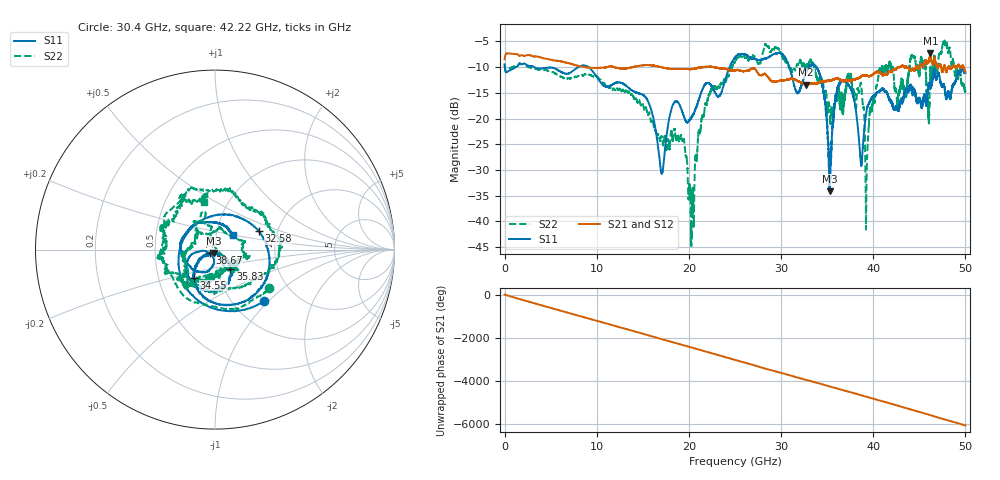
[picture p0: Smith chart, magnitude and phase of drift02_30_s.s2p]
!Created with skrf (http://scikit-rf.org).
# Hz S RI R 50.0
!freq ReS11 ImS11 ReS21 ImS21 ReS12 ImS12 ReS22 ImS22
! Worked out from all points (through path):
!   10001 points, 300 kHz to 50 GHz, reference 50 ohm
!   highest |S21| = -7.32 dB at 46.2 GHz (marker M1); lowest = -13.4 dB at 32.73 GHz (marker M2)
!   group delay of S21, straight-line fit = 335 ps
!   lowest |S11| = -34.1 dB at 35.27 GHz (marker M3), VSWR 1.04, Z = 49.4 - j1.86 ohm
!   |S11| at or under -10 dB: 3.231 GHz to 8.005 GHz (4.774 GHz wide, 85 % of centre); 9.103 GHz to 24.42 GHz (15.31 GHz wide, 91.4 % of centre); 33.83 GHz to end of sweep (the widest 3 of 7)
!   |S22| runs from -44.8 to -4.8 dB; largest |S21 - S12| = 0.013
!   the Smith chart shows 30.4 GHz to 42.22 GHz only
!   S11 on the Smith chart (normalised r, x): 30.4 GHz: 1.38, -0.94; 32.58 GHz: 1.59, +0.36; 34.55 GHz: 0.76, -0.24; 35.83 GHz: 1.16, -0.25; 38.67 GHz: 0.94, -0.04; 42.22 GHz: 1.20, +0.19
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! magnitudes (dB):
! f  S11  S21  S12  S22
! 300 kHz  -9.5  -8.5  -8.4  -9.4
! 8.335 GHz  -9.7  -9.9  -9.9  -11.6
! 16.67 GHz  -25.7  -9.9  -9.9  -23.1
! 19.31 GHz  -18.8  -10.4  -10.3  -24.4
! 20.35 GHz  -19.5  -10.4  -10.4  -34.6
! 21.94 GHz  -13.1  -10.0  -10.0  -17.1
! 25 GHz  -8.2  -10.7  -10.6  -9.0
! 30.4 GHz  -8.0  -12.5  -12.6  -8.6
! 32.58 GHz  -11.5  -13.2  -13.3  -10.2
! 32.73 GHz  -10.9  -13.4  -13.6  -10.1
! 33.34 GHz  -9.6  -13.2  -13.2  -9.0
! 34.55 GHz  -14.2  -12.8  -12.7  -12.8
! 35.27 GHz  -34.1  -12.6  -12.7  -18.1
! 35.83 GHz  -17.3  -12.3  -12.3  -16.8
! 37.46 GHz  -13.8  -12.5  -12.6  -12.1
! 38.67 GHz  -28.8  -11.8  -11.8  -13.2
! 39.31 GHz  -18.2  -11.6  -11.6  -29.3
! 41.67 GHz  -16.0  -10.9  -11.1  -9.8
! 42.22 GHz  -17.9  -10.4  -10.4  -11.2
! 46.2 GHz  -13.8  -7.3  -7.2  -10.1
! 47.77 GHz  -14.5  -9.8  -9.8  -5.3
! 50 GHz  -11.1  -10.9  -10.8  -14.4
